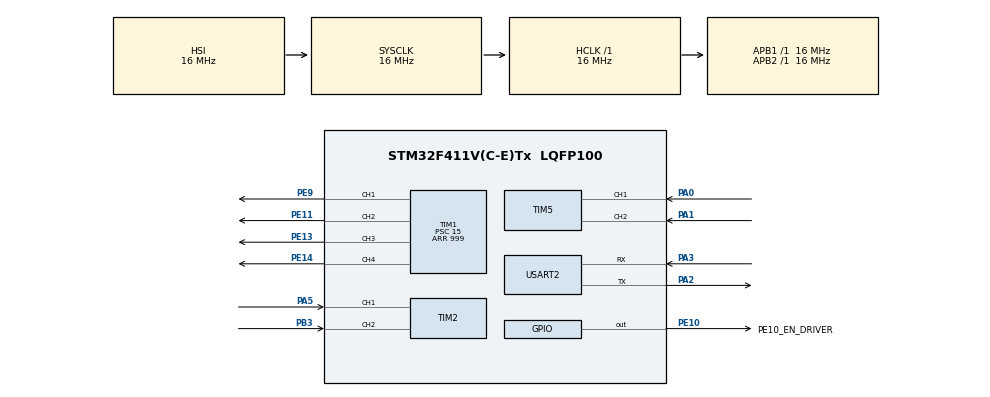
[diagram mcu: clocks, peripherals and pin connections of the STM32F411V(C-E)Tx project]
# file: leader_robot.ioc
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Dma.Request0=USART2_TX
Dma.USART2_TX.0.Direction=DMA_MEMORY_TO_PERIPH
Dma.USART2_TX.0.FIFOMode=DMA_FIFOMODE_DISABLE
Dma.USART2_TX.0.Instance=DMA1_Stream6
Dma.USART2_TX.0.MemDataAlignment=DMA_MDATAALIGN_BYTE
Dma.USART2_TX.0.MemInc=DMA_MINC_ENABLE
Dma.USART2_TX.0.Mode=DMA_NORMAL
Dma.USART2_TX.0.PeriphDataAlignment=DMA_PDATAALIGN_BYTE
Dma.USART2_TX.0.PeriphInc=DMA_PINC_DISABLE
Dma.USART2_TX.0.Priority=DMA_PRIORITY_LOW
Mcu.Family=STM32F4
Mcu.Name=STM32F411V(C-E)Tx
Mcu.Package=LQFP100
NVIC.DMA1_Stream6_IRQn=true\:0\:0\:false\:false\:true\:false\:true\:true
NVIC.PriorityGroup=NVIC_PRIORITYGROUP_4
NVIC.TIM3_IRQn=true\:1\:0\:true\:false\:true\:true\:true\:true
NVIC.USART2_IRQn=true\:0\:0\:false\:false\:true\:true\:true\:true
PA0-WKUP.Signal=S_TIM5_CH1
PA1.Signal=S_TIM5_CH2
PA13.Mode=Serial_Wire
PA13.Signal=SYS_JTMS-SWDIO
PA14.Mode=Serial_Wire
PA14.Signal=SYS_JTCK-SWCLK
PA2.Mode=Asynchronous
PA2.Signal=USART2_TX
PA3.Mode=Asynchronous
PA3.Signal=USART2_RX
PA5.Signal=S_TIM2_CH1_ETR
PB3.Signal=S_TIM2_CH2
PE10.GPIO_Label=PE10_EN_DRIVER
PE10.Signal=GPIO_Output
PE11.Signal=S_TIM1_CH2
PE13.Signal=S_TIM1_CH3
PE14.Signal=S_TIM1_CH4
PE9.Signal=S_TIM1_CH1
ProjectManager.HeapSize=0x200
ProjectManager.StackSize=0x400
ProjectManager.TargetToolchain=STM32CubeIDE
RCC.AHBFreq_Value=16000000
RCC.APB1Freq_Value=16000000
RCC.APB2Freq_Value=16000000
RCC.CortexFreq_Value=16000000
RCC.HSE_VALUE=25000000
RCC.HSI_VALUE=16000000
RCC.LSE_VALUE=32768
RCC.SYSCLKFreq_VALUE=16000000
RCC.VCOOutputFreq_Value=192000000
SH.S_TIM1_CH1.0=TIM1_CH1,PWM Generation1 CH1
SH.S_TIM1_CH2.0=TIM1_CH2,PWM Generation2 CH2
SH.S_TIM1_CH3.0=TIM1_CH3,PWM Generation3 CH3
SH.S_TIM1_CH4.0=TIM1_CH4,PWM Generation4 CH4
SH.S_TIM2_CH1_ETR.0=TIM2_CH1,Encoder_Interface
SH.S_TIM2_CH2.0=TIM2_CH2,Encoder_Interface
SH.S_TIM5_CH1.0=TIM5_CH1,Encoder_Interface
SH.S_TIM5_CH2.0=TIM5_CH2,Encoder_Interface
TIM1.Channel-PWM\ Generation1\ CH1=TIM_CHANNEL_1
TIM1.Channel-PWM\ Generation2\ CH2=TIM_CHANNEL_2
TIM1.Channel-PWM\ Generation3\ CH3=TIM_CHANNEL_3
TIM1.Channel-PWM\ Generation4\ CH4=TIM_CHANNEL_4
TIM1.Period=999
TIM1.Prescaler=15
TIM3.Period=9999
TIM3.Prescaler=159
USART2.VirtualMode=VM_ASYNC
VP_TIM1_VS_ClockSourceINT.Mode=Internal
VP_TIM3_VS_ClockSourceINT.Mode=Internal
board=custom

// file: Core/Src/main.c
/* USER CODE BEGIN Header */
/**
  ******************************************************************************
  * @file           : main.c
  * @brief          : Main program body
  ******************************************************************************
  * @attention
  *
  * Copyright (c) 2024 STMicroelectronics.
  * All rights reserved.
  *
  * This software is licensed under terms that can be found in the LICENSE file
  * in the root directory of this software component.
  * If no LICENSE file comes with this software, it is provided AS-IS.
  *
  ******************************************************************************
  */
/* USER CODE END Header */
#include "main.h"

/* USER CODE BEGIN Includes */
#include "transmit_function.h"
#include "decoding_frame.h"
#include "Robot_odom.h"
#include "string.h"
#include "pid_module.h"
/* USER CODE END Includes */

/* USER CODE BEGIN PTD */
uint8_t enc_buff_right[4];
uint8_t enc_buff_left[4];
uint8_t Rx;// chỉ lưu 1byte
uint8_t uart_buff[50];
int uart_flag = 0;
uint8_t uart_len = 0;

int32_t encoder_value_left = 0;
int32_t encoder_value_right = 0;
int32_t pre_encoder_value_left = 0;
int32_t pre_encoder_value_right = 0;
int32_t encoder_difference_left  = 0;
int32_t encoder_difference_right = 0;

uint8_t encoder_buf[30];
char data[100] ="";
uint8_t data_right[11] ="";
uint8_t data_left[11] ="";

int  en_run = 0;
int en_PID = 0;
int count =0;
float phid_pid = 0.0;
float distance_to_goals = 0;
/* USER CODE END PTD */

TIM_HandleTypeDef htim1;
TIM_HandleTypeDef htim2;
TIM_HandleTypeDef htim3;
TIM_HandleTypeDef htim5;

UART_HandleTypeDef huart2;
DMA_HandleTypeDef hdma_usart2_tx;

Robot myRobot;
PID_handleTypedef hpid;
desired_point my_desired_point;

void SystemClock_Config(void);
static void MX_GPIO_Init(void);
static void MX_DMA_Init(void);
static void MX_USART2_UART_Init(void);
static void MX_TIM1_Init(void);
static void MX_TIM2_Init(void);
static void MX_TIM3_Init(void);
static void MX_TIM5_Init(void);

/* USER CODE BEGIN 0 */

void HAL_UART_RxCpltCallback(UART_HandleTypeDef *huart){
	if(huart->Instance==huart2.Instance){
//		receive_data(Rx);
		if(Rx == '\n'){
			uart_flag =1;
			uart_buff[uart_len++] = Rx;
		}

		else{
			uart_buff[uart_len++]= Rx;
		}

		HAL_UART_Receive_IT(&huart2, &Rx, 1);
	}
}
// todo timer interuppt
void HAL_TIM_PeriodElapsedCallback(TIM_HandleTypeDef *htim){
	if (htim->Instance == TIM3){
		//doc encoder
		if(count >= 1 ){

			encoder_value_left = -1*__HAL_TIM_GET_COUNTER(&htim2);
			encoder_value_right =__HAL_TIM_GET_COUNTER(&htim5);
			encoder_difference_left = encoder_value_left - pre_encoder_value_left;
			encoder_difference_right = encoder_value_right - pre_encoder_value_right;
			pre_encoder_value_right = encoder_value_right ;
			pre_encoder_value_left = encoder_value_left ;
//
			update_Position(&myRobot, encoder_difference_left, encoder_difference_right,0.1);
//			update_Position_base_velocity(&myRobot, encoder_difference_left, encoder_difference_right,0.1);//delta time is 0.1
			//ennable PID calculation
			en_PID =1;

			//end condition
			distance_to_goals =sqrt((myRobot.x-my_desired_point.x_d)*(myRobot.x - my_desired_point.x_d)+(myRobot.y - my_desired_point.y_d)*(myRobot.y-my_desired_point.y_d));
			//sprintf(data,"!distance:%.2f#\n",distance_to_goals);
			//HAL_UART_Transmit_DMA(&huart2, (uint8_t*)data,strlen(data));()abs(myRobot.x - my_desired_point.x_d) < 0.01) &(abs(myRobot.y - my_desired_point.y_d) <0.01
			if((distance_to_goals < 0.03) ){
				HAL_GPIO_WritePin(PE10_EN_DRIVER_GPIO_Port,PE10_EN_DRIVER_Pin,RESET);
				en_run = 0;
			}
			//return encoder value
//			sprintf(data,"!enc_L:%d#encR:%d#\n",encoder_value_left,encoder_value_right);
//			HAL_UART_Transmit_DMA(&huart2, (uint8_t*)data,strlen(data));

			//returm diff encoder value
//			sprintf(data,"!L_diff:%d#R_diff:%d#\n",encoder_difference_left,encoder_difference_right);
//			HAL_UART_Transmit_DMA(&huart2, (uint8_t*)data,strlen(data));

			//return x y phi; !cmd:RUN#x:0.00#y:0.00#phi:0.00#
//			sprintf(data,"!cmd:%s#x:%.2f#y:%.2f#phi:%.2f#\n",myRobot.cmd,myRobot.x,myRobot.y,rad_to_degree(myRobot.theta));
//			HAL_UART_Transmit_DMA(&huart2, (uint8_t*)data,strlen(data));

			//return PWM
//			sprintf(data,"!W_L_PWM:%.2f#W_R_PWM:%.2f#\n",myRobot.v_l_PWM,myRobot.v_r_PWM);
//			HAL_UART_Transmit_DMA(&huart2, (uint8_t*)data,strlen(data));

			//todo
			// only send data when status is running
			if(strcmp(myRobot.cmd,"RUN")== 0 ){
				//return encoder value
	//			sprintf(data,"!enc_L:%d#encR:%d#\n",encoder_value_left,encoder_value_right);
	//			HAL_UART_Transmit_DMA(&huart2, (uint8_t*)data,strlen(data));

				//returm diff encoder value
	//			sprintf(data,"!L_diff:%d#R_diff:%d#\n",encoder_difference_left,encoder_difference_right);
	//			HAL_UART_Transmit_DMA(&huart2, (uint8_t*)data,strlen(data));

//				return x y phi; !cmd:RUN#x:0.00#y:0.00#phi:0.00#
//				sprintf(data,"!cmd:%s#x:%.2f#y:%.2f#phi:%.2f#\n",myRobot.cmd,myRobot.x,myRobot.y,rad_to_degree(myRobot.theta));
//				HAL_UART_Transmit_DMA(&huart2, (uint8_t*)data,strlen(data));

				//return PWM
	//			sprintf(data,"!W_L_PWM:%.2f#W_R_PWM:%.2f#\n",myRobot.v_l_PWM,myRobot.v_r_PWM);
	//			HAL_UART_Transmit_DMA(&huart2, (uint8_t*)data,strlen(data));
				//return Omega
//				sprintf(data,"!omega:%.2f#phi:%.2f#\n",myRobot.omega,rad_to_degree(myRobot.theta));
//				HAL_UART_Transmit_DMA(&huart2, (uint8_t*)data,strlen(data));
			}
//			sprintf(data,"!omega:%.2f#phi:%.2f#\n",myRobot.omega,rad_to_degree(myRobot.theta));
//			HAL_UART_Transmit_DMA(&huart2, (uint8_t*)data,strlen(data));
//			return x y phi; !cmd:RUN#x:0.00#y:0.00#phi:0.00#
			sprintf(data,"!cmd:%s#x:%.2f#y:%.2f#phi:%.2f#\n",myRobot.cmd,myRobot.x,myRobot.y,rad_to_degree(myRobot.theta));
			HAL_UART_Transmit_DMA(&huart2, (uint8_t*)data,strlen(data));

			//reset count
			count=0;
		}
		count++;
	}
}
/* USER CODE END 0 */

int main(void)
{

  /* MCU Configuration--------------------------------------------------------*/

  /* Reset of all peripherals, Initializes the Flash interface and the Systick. */
  HAL_Init();

  /* Configure the system clock */
  SystemClock_Config();

  /* Initialize all configured peripherals */
  MX_GPIO_Init();
  MX_DMA_Init();
  MX_USART2_UART_Init();
  MX_TIM1_Init();
  MX_TIM2_Init();
  MX_TIM3_Init();
  MX_TIM5_Init();

  /* USER CODE BEGIN 2 */
  //start  uart2 interupt
  // todo
  init_Robot(&myRobot);
  desired_point_init(&my_desired_point);
  HAL_UART_Receive_IT(&huart2, &Rx, 1);
  //ref KP KI KD
//  pid_set_Kp_Ki_Kd(&hpid,1.55, 0.055, 0.025,0.1);
//  pid_set_Kp_Ki_Kd(&hpid, 5, 0.13, 0.025,0.1);
  pid_set_Kp_Ki_Kd(&hpid, 17, 1.5, 0.03,0.1);
  //start PWM TIM1; chanel 1,2 for left motor ; chanel 3,4 for right  motor
  //chanel 1 PE9 ;chanel 2 PE11; chanel 3 PE23 ; chanel 4 PE14;
  HAL_TIM_PWM_Start(&htim1, TIM_CHANNEL_1);
  HAL_TIM_PWM_Start(&htim1, TIM_CHANNEL_2);
  HAL_TIM_PWM_Start(&htim1, TIM_CHANNEL_3);
  HAL_TIM_PWM_Start(&htim1, TIM_CHANNEL_4);

  //start encoder Mode
  // TIM2 For encoder of left motor , TIM5 for encoder of Right motor
  // TIM2:PA5,PB3 ; TIM5 PA0,PA1
//  HAL_TIM_Encoder_Start(&htim2, TIM_CHANNEL_1|TIM_CHANNEL_2);
//  HAL_TIM_Encoder_Start(&htim5, TIM_CHANNEL_1|TIM_CHANNEL_2);
    HAL_TIM_Encoder_Start(&htim2, TIM_CHANNEL_2);
    HAL_TIM_Encoder_Start(&htim5, TIM_CHANNEL_1);
  //start interrupt timer 3
  HAL_TIM_Base_Start_IT(&htim3);
  /* USER CODE END 2 */

  /* Infinite loop */
  /* USER CODE BEGIN WHILE */
  while (1)
  {
//	  HAL_UART_Transmit(&huart2, tx_buff, sizeof(tx_buff),100);
//	  HAL_Delay(100);
// todo pid

	  // transmit data when stm32 recieved data form PC
	  if(uart_flag == 1){
		  //decoding frame data;
		  split_frame((char*)uart_buff, &my_desired_point);

		  if(strcmp(my_desired_point.cmd_d, "RUN") == 0){
			  strcpy(myRobot.cmd,my_desired_point.cmd_d);
			  HAL_GPIO_WritePin(PE10_EN_DRIVER_GPIO_Port,PE10_EN_DRIVER_Pin,SET);
			  en_run = 1;
		  }
		  else{
			  HAL_GPIO_WritePin(PE10_EN_DRIVER_GPIO_Port,PE10_EN_DRIVER_Pin,RESET);
			  en_run = 0;
		  }
//		  HAL_UART_Transmit_DMA(&huart2, uart_buff, sizeof(uart_buff));

		  //send data to check desire point: !cmd:RUN#x:0.00#y:0.00#phi:0.00#
//		  sprintf(data,"!cmd_d:%s#x_d:%.2f#y_d:%.2f#phi_d:%.2f#\n",my_desired_point.cmd_d,my_desired_point.x_d,my_desired_point.y_d,my_desired_point.phi_d);
//		  HAL_UART_Transmit_DMA(&huart2, (uint8_t*)data,strlen(data));
		  HAL_Delay(100);
		  uart_len = 0;
		  uart_flag =0;
	  }
		 // PID and control motor
	  	  if(en_PID ==1){
		  	  // cal phi desired (rad/s)
			  phid_pid = atan2((my_desired_point.y_d - myRobot.y),(my_desired_point.x_d - myRobot.x));
			  hpid.setpoint = phid_pid;
			  hpid.current = myRobot.theta;
		  	  //calculate output PID
		  	  myRobot.omega = calculate_pid_output(&hpid);//rad/s
		  	  //calspeed : write a function in pid_module to call angular vel of 2 motor anf convert it to PWM signal
		  	  myRobot.v_r = cal_speed_right_motor(myRobot.omega, myRobot.v);// m/s
		  	  myRobot.v_l = cal_speed_left_motor(myRobot.omega, myRobot.v);//m/s

		  	  //set limit ưay2
	  		  if(myRobot.v_r >= 0){
	  			  if(myRobot.v_r > v_max){
	  				  myRobot.v_r = v_max;
	  			  }
	  			  else if(myRobot.v_r < v_min ){
	  				myRobot.v_r  = v_min;
	  			  }
	  		  }
	  		  else if(myRobot.v_r < 0){
	  			  if(-myRobot.v_r > v_max){
	  				  myRobot.v_r = -v_max;
	  			  }
	  			  else if(-myRobot.v_r < v_min ){
	  				myRobot.v_r  = -v_min;
	  			  }
	  		  }

		  	  // limit max min PWM for motor
		  	  myRobot.v_l_PWM = mps_to_PWM(myRobot.v_l);
		  	  myRobot.v_r_PWM = mps_to_PWM(myRobot.v_r );
	  		  en_PID =0;
	  	  }

		  // PWM cho 2 motor
		  if(en_run == 1){
			  //left motor
			  // clockwise
			  if(myRobot.v_l_PWM > 0){
				  __HAL_TIM_SET_COMPARE(&htim1,TIM_CHANNEL_1,(int)myRobot.v_l_PWM);//
				  __HAL_TIM_SET_COMPARE(&htim1,TIM_CHANNEL_2,0);
			  }
			  //counter Clockwise
			  else{
				  __HAL_TIM_SET_COMPARE(&htim1,TIM_CHANNEL_1,0);//
				  __HAL_TIM_SET_COMPARE(&htim1,TIM_CHANNEL_2,(int)-myRobot.v_l_PWM);
			  }
			  //right motor
			  // clockwise
			  if(myRobot.v_r_PWM > 0){
				  __HAL_TIM_SET_COMPARE(&htim1,TIM_CHANNEL_3,(int)myRobot.v_r_PWM);//
				  __HAL_TIM_SET_COMPARE(&htim1,TIM_CHANNEL_4,0);
			  }
			  //counter Clokwise
			  else{
				  __HAL_TIM_SET_COMPARE(&htim1,TIM_CHANNEL_3,0);//
				  __HAL_TIM_SET_COMPARE(&htim1,TIM_CHANNEL_4,(int)-1*myRobot.v_r_PWM);
			  }
			  //this make my PID come true , i dont know why we use the code above but it didnt work

			  //left motor
//			  __HAL_TIM_SET_COMPARE(&htim1,TIM_CHANNEL_1,abs(myRobot.v_l_PWM));//
//			  __HAL_TIM_SET_COMPARE(&htim1,TIM_CHANNEL_2,0);
//			  //right motor
//			  __HAL_TIM_SET_COMPARE(&htim1,TIM_CHANNEL_3, abs(myRobot.v_r_PWM));//
//			  __HAL_TIM_SET_COMPARE(&htim1,TIM_CHANNEL_4,0);

		  }
		  else{
			  strcpy(myRobot.cmd,"STP");
//			  myRobot.theta = 0.0;
//			  init_Robot(&myRobot);
			  //left motor
			  __HAL_TIM_SET_COMPARE(&htim1,TIM_CHANNEL_1,0);//
			  __HAL_TIM_SET_COMPARE(&htim1,TIM_CHANNEL_2,0);
			  //right motor
			  __HAL_TIM_SET_COMPARE(&htim1,TIM_CHANNEL_3,0);//
			  __HAL_TIM_SET_COMPARE(&htim1,TIM_CHANNEL_4,0);
			  //enable driver
//			  HAL_GPIO_WritePin(PE10_EN_DRIVER_GPIO_Port,PE10_EN_DRIVER_Pin,RESET);
		  }
		  // end condition

    /* USER CODE END WHILE */

  }
}

void SystemClock_Config(void)
{
  RCC_OscInitTypeDef RCC_OscInitStruct = {0};
  RCC_ClkInitTypeDef RCC_ClkInitStruct = {0};

  /** Configure the main internal regulator output voltage
  */
  __HAL_RCC_PWR_CLK_ENABLE();
  __HAL_PWR_VOLTAGESCALING_CONFIG(PWR_REGULATOR_VOLTAGE_SCALE1);

  /** Initializes the RCC Oscillators according to the specified parameters
  * in the RCC_OscInitTypeDef structure.
  */
  RCC_OscInitStruct.OscillatorType = RCC_OSCILLATORTYPE_HSI;
  RCC_OscInitStruct.HSIState = RCC_HSI_ON;
  RCC_OscInitStruct.HSICalibrationValue = RCC_HSICALIBRATION_DEFAULT;
  RCC_OscInitStruct.PLL.PLLState = RCC_PLL_NONE;
  if (HAL_RCC_OscConfig(&RCC_OscInitStruct) != HAL_OK)
  {
    Error_Handler();
  }

  /** Initializes the CPU, AHB and APB buses clocks
  */
  RCC_ClkInitStruct.ClockType = RCC_CLOCKTYPE_HCLK|RCC_CLOCKTYPE_SYSCLK
                              |RCC_CLOCKTYPE_PCLK1|RCC_CLOCKTYPE_PCLK2;
  RCC_ClkInitStruct.SYSCLKSource = RCC_SYSCLKSOURCE_HSI;
  RCC_ClkInitStruct.AHBCLKDivider = RCC_SYSCLK_DIV1;
  RCC_ClkInitStruct.APB1CLKDivider = RCC_HCLK_DIV1;
  RCC_ClkInitStruct.APB2CLKDivider = RCC_HCLK_DIV1;

  if (HAL_RCC_ClockConfig(&RCC_ClkInitStruct, FLASH_LATENCY_0) != HAL_OK)
  {
    Error_Handler();
  }
}

static void MX_TIM1_Init(void)
{

  TIM_ClockConfigTypeDef sClockSourceConfig = {0};
  TIM_MasterConfigTypeDef sMasterConfig = {0};
  TIM_OC_InitTypeDef sConfigOC = {0};
  TIM_BreakDeadTimeConfigTypeDef sBreakDeadTimeConfig = {0};

  htim1.Instance = TIM1;
  htim1.Init.Prescaler = 15;
  htim1.Init.CounterMode = TIM_COUNTERMODE_UP;
  htim1.Init.Period = 999;
  htim1.Init.ClockDivision = TIM_CLOCKDIVISION_DIV1;
  htim1.Init.RepetitionCounter = 0;
  htim1.Init.AutoReloadPreload = TIM_AUTORELOAD_PRELOAD_DISABLE;
  if (HAL_TIM_Base_Init(&htim1) != HAL_OK)
  {
    Error_Handler();
  }
  sClockSourceConfig.ClockSource = TIM_CLOCKSOURCE_INTERNAL;
  if (HAL_TIM_ConfigClockSource(&htim1, &sClockSourceConfig) != HAL_OK)
  {
    Error_Handler();
  }
  if (HAL_TIM_PWM_Init(&htim1) != HAL_OK)
  {
    Error_Handler();
  }
  sMasterConfig.MasterOutputTrigger = TIM_TRGO_RESET;
  sMasterConfig.MasterSlaveMode = TIM_MASTERSLAVEMODE_DISABLE;
  if (HAL_TIMEx_MasterConfigSynchronization(&htim1, &sMasterConfig) != HAL_OK)
  {
    Error_Handler();
  }
  sConfigOC.OCMode = TIM_OCMODE_PWM1;
  sConfigOC.Pulse = 0;
  sConfigOC.OCPolarity = TIM_OCPOLARITY_HIGH;
  sConfigOC.OCNPolarity = TIM_OCNPOLARITY_HIGH;
  sConfigOC.OCFastMode = TIM_OCFAST_DISABLE;
  sConfigOC.OCIdleState = TIM_OCIDLESTATE_RESET;
  sConfigOC.OCNIdleState = TIM_OCNIDLESTATE_RESET;
  if (HAL_TIM_PWM_ConfigChannel(&htim1, &sConfigOC, TIM_CHANNEL_1) != HAL_OK)
  {
    Error_Handler();
  }
  if (HAL_TIM_PWM_ConfigChannel(&htim1, &sConfigOC, TIM_CHANNEL_2) != HAL_OK)
  {
    Error_Handler();
  }
  if (HAL_TIM_PWM_ConfigChannel(&htim1, &sConfigOC, TIM_CHANNEL_3) != HAL_OK)
  {
    Error_Handler();
  }
  if (HAL_TIM_PWM_ConfigChannel(&htim1, &sConfigOC, TIM_CHANNEL_4) != HAL_OK)
  {
    Error_Handler();
  }
  sBreakDeadTimeConfig.OffStateRunMode = TIM_OSSR_DISABLE;
  sBreakDeadTimeConfig.OffStateIDLEMode = TIM_OSSI_DISABLE;
  sBreakDeadTimeConfig.LockLevel = TIM_LOCKLEVEL_OFF;
  sBreakDeadTimeConfig.DeadTime = 0;
  sBreakDeadTimeConfig.BreakState = TIM_BREAK_DISABLE;
  sBreakDeadTimeConfig.BreakPolarity = TIM_BREAKPOLARITY_HIGH;
  sBreakDeadTimeConfig.AutomaticOutput = TIM_AUTOMATICOUTPUT_DISABLE;
  if (HAL_TIMEx_ConfigBreakDeadTime(&htim1, &sBreakDeadTimeConfig) != HAL_OK)
  {
    Error_Handler();
  }
  HAL_TIM_MspPostInit(&htim1);

}

static void MX_TIM2_Init(void)
{

  TIM_Encoder_InitTypeDef sConfig = {0};
  TIM_MasterConfigTypeDef sMasterConfig = {0};

  htim2.Instance = TIM2;
  htim2.Init.Prescaler = 0;
  htim2.Init.CounterMode = TIM_COUNTERMODE_UP;
  htim2.Init.Period = 4294967295;
  htim2.Init.ClockDivision = TIM_CLOCKDIVISION_DIV1;
  htim2.Init.AutoReloadPreload = TIM_AUTORELOAD_PRELOAD_DISABLE;
  sConfig.EncoderMode = TIM_ENCODERMODE_TI1;
  sConfig.IC1Polarity = TIM_ICPOLARITY_RISING;
  sConfig.IC1Selection = TIM_ICSELECTION_DIRECTTI;
  sConfig.IC1Prescaler = TIM_ICPSC_DIV1;
  sConfig.IC1Filter = 0;
  sConfig.IC2Polarity = TIM_ICPOLARITY_RISING;
  sConfig.IC2Selection = TIM_ICSELECTION_DIRECTTI;
  sConfig.IC2Prescaler = TIM_ICPSC_DIV1;
  sConfig.IC2Filter = 0;
  if (HAL_TIM_Encoder_Init(&htim2, &sConfig) != HAL_OK)
  {
    Error_Handler();
  }
  sMasterConfig.MasterOutputTrigger = TIM_TRGO_RESET;
  sMasterConfig.MasterSlaveMode = TIM_MASTERSLAVEMODE_DISABLE;
  if (HAL_TIMEx_MasterConfigSynchronization(&htim2, &sMasterConfig) != HAL_OK)
  {
    Error_Handler();
  }

}

static void MX_TIM3_Init(void)
{

  TIM_ClockConfigTypeDef sClockSourceConfig = {0};
  TIM_MasterConfigTypeDef sMasterConfig = {0};

  htim3.Instance = TIM3;
  htim3.Init.Prescaler = 159;
  htim3.Init.CounterMode = TIM_COUNTERMODE_UP;
  htim3.Init.Period = 9999;
  htim3.Init.ClockDivision = TIM_CLOCKDIVISION_DIV1;
  htim3.Init.AutoReloadPreload = TIM_AUTORELOAD_PRELOAD_DISABLE;
  if (HAL_TIM_Base_Init(&htim3) != HAL_OK)
  {
    Error_Handler();
  }
  sClockSourceConfig.ClockSource = TIM_CLOCKSOURCE_INTERNAL;
  if (HAL_TIM_ConfigClockSource(&htim3, &sClockSourceConfig) != HAL_OK)
  {
    Error_Handler();
  }
  sMasterConfig.MasterOutputTrigger = TIM_TRGO_RESET;
  sMasterConfig.MasterSlaveMode = TIM_MASTERSLAVEMODE_DISABLE;
  if (HAL_TIMEx_MasterConfigSynchronization(&htim3, &sMasterConfig) != HAL_OK)
  {
    Error_Handler();
  }

}

static void MX_TIM5_Init(void)
{

  TIM_Encoder_InitTypeDef sConfig = {0};
  TIM_MasterConfigTypeDef sMasterConfig = {0};

  htim5.Instance = TIM5;
  htim5.Init.Prescaler = 0;
  htim5.Init.CounterMode = TIM_COUNTERMODE_UP;
  htim5.Init.Period = 4294967295;
  htim5.Init.ClockDivision = TIM_CLOCKDIVISION_DIV1;
  htim5.Init.AutoReloadPreload = TIM_AUTORELOAD_PRELOAD_DISABLE;
  sConfig.EncoderMode = TIM_ENCODERMODE_TI1;
  sConfig.IC1Polarity = TIM_ICPOLARITY_RISING;
  sConfig.IC1Selection = TIM_ICSELECTION_DIRECTTI;
  sConfig.IC1Prescaler = TIM_ICPSC_DIV1;
  sConfig.IC1Filter = 0;
  sConfig.IC2Polarity = TIM_ICPOLARITY_RISING;
  sConfig.IC2Selection = TIM_ICSELECTION_DIRECTTI;
  sConfig.IC2Prescaler = TIM_ICPSC_DIV1;
  sConfig.IC2Filter = 0;
  if (HAL_TIM_Encoder_Init(&htim5, &sConfig) != HAL_OK)
  {
    Error_Handler();
  }
  sMasterConfig.MasterOutputTrigger = TIM_TRGO_RESET;
  sMasterConfig.MasterSlaveMode = TIM_MASTERSLAVEMODE_DISABLE;
  if (HAL_TIMEx_MasterConfigSynchronization(&htim5, &sMasterConfig) != HAL_OK)
  {
    Error_Handler();
  }

}

static void MX_USART2_UART_Init(void)
{

  huart2.Instance = USART2;
  huart2.Init.BaudRate = 115200;
  huart2.Init.WordLength = UART_WORDLENGTH_8B;
  huart2.Init.StopBits = UART_STOPBITS_1;
  huart2.Init.Parity = UART_PARITY_NONE;
  huart2.Init.Mode = UART_MODE_TX_RX;
  huart2.Init.HwFlowCtl = UART_HWCONTROL_NONE;
  huart2.Init.OverSampling = UART_OVERSAMPLING_16;
  if (HAL_UART_Init(&huart2) != HAL_OK)
  {
    Error_Handler();
  }

}

static void MX_DMA_Init(void)
{

  /* DMA controller clock enable */
  __HAL_RCC_DMA1_CLK_ENABLE();

  /* DMA interrupt init */
  /* DMA1_Stream6_IRQn interrupt configuration */
  HAL_NVIC_SetPriority(DMA1_Stream6_IRQn, 0, 0);
  HAL_NVIC_EnableIRQ(DMA1_Stream6_IRQn);

}

static void MX_GPIO_Init(void)
{
  GPIO_InitTypeDef GPIO_InitStruct = {0};

  /* GPIO Ports Clock Enable */
  __HAL_RCC_GPIOA_CLK_ENABLE();
  __HAL_RCC_GPIOE_CLK_ENABLE();
  __HAL_RCC_GPIOB_CLK_ENABLE();

  /*Configure GPIO pin Output Level */
  HAL_GPIO_WritePin(PE10_EN_DRIVER_GPIO_Port, PE10_EN_DRIVER_Pin, GPIO_PIN_RESET);

  /*Configure GPIO pin : PE10_EN_DRIVER_Pin */
  GPIO_InitStruct.Pin = PE10_EN_DRIVER_Pin;
  GPIO_InitStruct.Mode = GPIO_MODE_OUTPUT_PP;
  GPIO_InitStruct.Pull = GPIO_NOPULL;
  GPIO_InitStruct.Speed = GPIO_SPEED_FREQ_LOW;
  HAL_GPIO_Init(PE10_EN_DRIVER_GPIO_Port, &GPIO_InitStruct);

}

void Error_Handler(void)
{
  __disable_irq();
  while (1)
  {
  }
}
